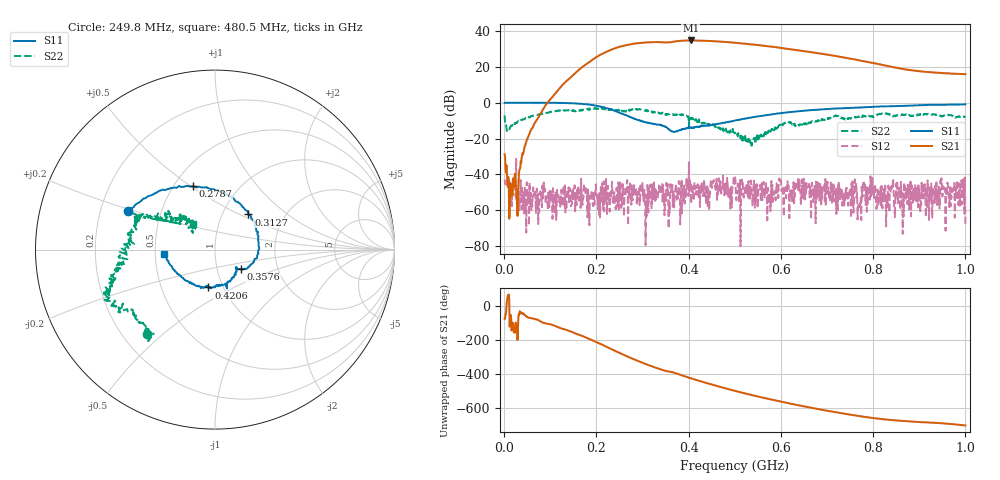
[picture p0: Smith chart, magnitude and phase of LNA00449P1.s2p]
! Created with skrf 1.9.0 (http://scikit-rf.org).
# Hz S RI R 50.0
!freq ReS11 ImS11 ReS21 ImS21 ReS12 ImS12 ReS22 ImS22
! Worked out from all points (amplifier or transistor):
!   1001 points, 1 MHz to 1 GHz, reference 50 ohm
!   highest |S21| = 34.8 dB at 404.6 MHz (marker M1)
!   |S21| within 3 dB of that: 258.2 MHz to 563.4 MHz (305.2 MHz wide, 74.3 % of centre)
!   unconditionally stable (mu >= 1): 26.57 MHz to 57.51 MHz; 252 MHz to 400.2 MHz; 401 MHz to end of sweep (the widest 3 of 32)
!   at 166.8 MHz: K = 0.28, MSG = 31.0 dB, |S12| = -42.5 dB
!   at 500.5 MHz: K = 1.21, MAG = 34.6 dB, |S12| = -41.0 dB
!   at 1 GHz: K = 35.29, MAG = 24.1 dB, |S12| = -69.2 dB
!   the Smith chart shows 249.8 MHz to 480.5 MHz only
!   S11 on the Smith chart (normalised r, x): 249.8 MHz: 0.32, +0.19; 278.7 MHz: 0.62, +0.51; 312.7 MHz: 1.32, +0.56; 357.6 MHz: 1.30, -0.29; 420.6 MHz: 0.85, -0.38; 480.5 MHz: 0.56, -0.03
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1000000  0.9868 0.0063  0.0074 -0.0356  -0.00312 0.00647  0.3252 0.3035
1.08892e8  0.5314 -0.8399  -0.7879 -1.486  -0.00196 -0.000279  0.4272 -0.3803
1.67833e8  -0.2185 -0.9053  -9.621 -0.5735  0.00277 -0.000908  0.0331 -0.628
2.12788e8  -0.6725 -0.3505  -14.9 17.9  0.00185 -0.00524  -0.2096 -0.6364
2.29771e8  -0.6623 -0.0599  -9.029 28.07  -0.00178 0.00255  -0.2867 -0.5834
2.49751e8  -0.4831 0.2136  4.863 36.23  -0.00388 -0.00383  -0.377 -0.471
2.78722e8  -0.1235 0.3526  29.68 32.54  -0.00158 0.00105  -0.5855 -0.3167
3.12688e8  0.1861 0.196  47.96 8.788  0.000696 -0.000499  -0.5557 -0.1802
3.34666e8  0.2456 0.0126  48.68 -9.54  -0.00302 0.00115  -0.5261 -0.0273
3.57643e8  0.1427 -0.1099  42.99 -22.49  0.000683 0.00164  -0.4695 0.0889
3.77623e8  0.1189 -0.1159  39.25 -35.95  0.00101 0.00267  -0.4501 0.1886
4.04596e8  0.0426 -0.1991  21.38 -50.76  0.00283 0.00513  -0.3163 0.1709
4.2058e8  -0.0367 -0.211  8.673 -53.94  0.00097 0.00293  -0.2339 0.1647
4.49551e8  -0.181 -0.157  -12.55 -51.33  0.00581 0.00383  -0.1879 0.1615
4.8052e8  -0.2836 -0.0233  -30.03 -40.22  0.00131 0.00576  -0.1225 0.1436
5.005e8  -0.3093 0.0901  -37.24 -29.88  0.00437 0.00775  -0.1097 0.0882
5.4046e8  -0.2473 0.3073  -41.22 -8.585  0.00397 -0.00183  -0.0956 0.00195
5.88412e8  -0.0589 0.485  -33.85 11.19  0.000633 -0.00177  -0.1736 -0.0882
6.67333e8  0.3199 0.5362  -12.11 22.47  -0.00332 -0.00478  -0.3021 -0.0431
7.49251e8  0.6048 0.3837  3.12 16.92  -0.00195 -0.00339  -0.3667 0.0607
8.34166e8  0.7776 0.1555  6.923 7.849  -0.00194 -0.00113  -0.4417 0.1802
1e9  0.8195 -0.3783  6.104 1.667  0.000294 0.000187  -0.1047 0.3778
